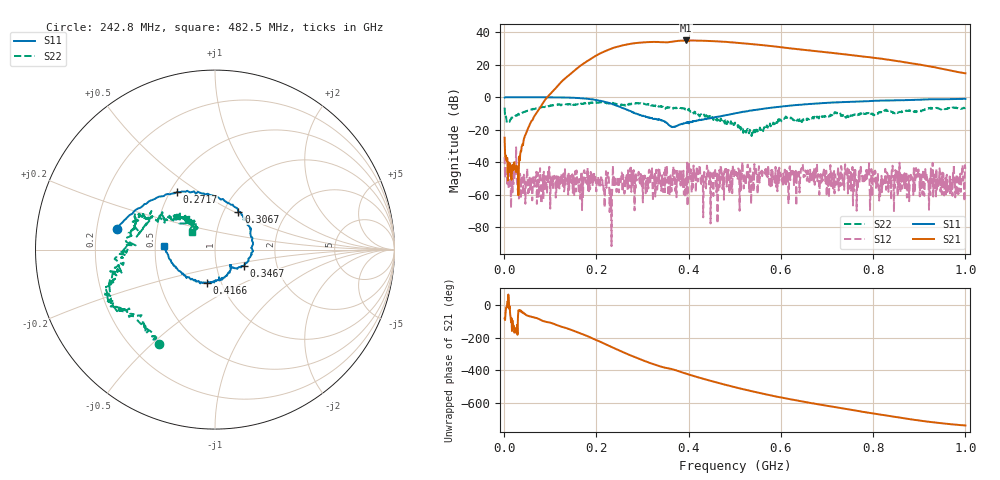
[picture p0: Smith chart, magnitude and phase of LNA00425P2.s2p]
! Created with skrf 1.9.0 (http://scikit-rf.org).
# Hz S RI R 50.0
!freq ReS11 ImS11 ReS21 ImS21 ReS12 ImS12 ReS22 ImS22
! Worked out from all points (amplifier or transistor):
!   1001 points, 1 MHz to 1 GHz, reference 50 ohm
!   highest |S21| = 35.0 dB at 394.6 MHz (marker M1)
!   |S21| within 3 dB of that: 257 MHz to 563.2 MHz (306.2 MHz wide, 74.7 % of centre)
!   unconditionally stable (mu >= 1): 236.1 MHz to 280.7 MHz; 280.8 MHz to 929 MHz; 929.1 MHz to end of sweep (the widest 3 of 45)
!   at 166.8 MHz: K = 1.42, MAG = 31.2 dB, |S12| = -50.5 dB
!   at 500.5 MHz: K = 1.78, MAG = 34.5 dB, |S12| = -45.5 dB
!   at 1 GHz: K = 1.86, MAG = 24.1 dB, |S12| = -44.1 dB
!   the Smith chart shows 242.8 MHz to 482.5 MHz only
!   S11 on the Smith chart (normalised r, x): 242.8 MHz: 0.29, +0.10; 271.7 MHz: 0.54, +0.41; 306.7 MHz: 1.17, +0.53; 346.7 MHz: 1.35, -0.25; 416.6 MHz: 0.85, -0.33; 482.5 MHz: 0.56, +0.03
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1000000  0.9805 0.00208  0.00697 -0.0567  -0.00669 0.0128  0.3544 0.3245
1.08892e8  0.5305 -0.8422  -0.8079 -1.532  -0.00371 -0.000872  0.4326 -0.3812
1.67833e8  -0.2123 -0.9074  -9.92 -0.5741  0.00459 0.00238  0.0515 -0.6303
2.09791e8  -0.6571 -0.409  -15.64 16.82  -0.000512 0.0034  -0.2043 -0.6654
2.42758e8  -0.5473 0.1157  -0.00686 35.07  -0.00032 0.00184  -0.3129 -0.5286
2.71729e8  -0.2138 0.3198  25.37 35.59  -0.00178 0.00199  -0.4881 -0.3477
3.06694e8  0.1301 0.2114  47.82 13  -0.0011 -1.08e-05  -0.5693 -0.179
3.34666e8  0.2121 -0.00933  49.27 -10.73  -0.00284 0.00526  -0.515 -0.0456
3.46654e8  0.1599 -0.0902  45.77 -18.26  0.00014 0.00426  -0.4946 -0.0183
3.72628e8  0.0878 -0.0952  42 -34.04  0.00042 0.00283  -0.4588 0.1548
3.94606e8  0.05 -0.1562  28.47 -48.48  0.00203 0.00176  -0.3995 0.1776
4.16584e8  -0.046 -0.1858  11.08 -54.89  0.00104 0.004  -0.2727 0.1849
4.46554e8  -0.1851 -0.1346  -11.63 -52.86  0.00284 0.00389  -0.1913 0.1792
4.82518e8  -0.282 0.0212  -31.73 -39.14  0.00144 0.00103  -0.1268 0.0998
5.005e8  -0.2966 0.1183  -38.32 -29.79  -0.00203 0.00492  -0.1119 0.1222
5.39461e8  -0.2299 0.3241  -42.12 -8.931  0.0046 -0.00234  -0.0872 -0.002
5.85415e8  -0.0502 0.4862  -35.45 10.26  0.000815 -0.00316  -0.1514 -0.0481
6.67333e8  0.3334 0.5317  -13.78 23.22  0.00321 -0.0028  -0.2206 -0.0347
7.53247e8  0.6321 0.3637  3.469 19.53  0.00144 -0.00233  -0.2699 0.00867
8.34166e8  0.7835 0.1281  10.34 9.809  0.000669 -0.00376  -0.3805 0.00638
9.09091e8  0.8416 -0.1238  9.453 1.91  -0.00578 0.00163  -0.3645 0.1531
1e9  0.8034 -0.3971  5.282 -1.386  -0.00497 0.00382  -0.3515 0.3093
